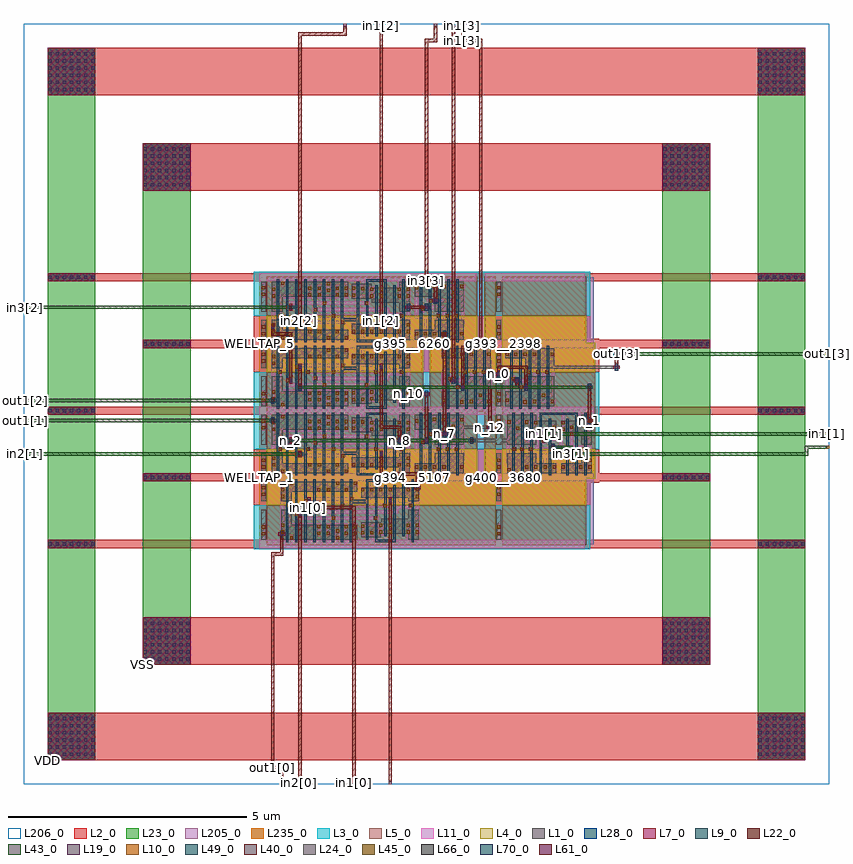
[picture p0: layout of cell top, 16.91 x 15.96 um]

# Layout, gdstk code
from math import pi, radians
import gdstk
lib = gdstk.Library(unit=1e-6, precision=1e-10)
def R(c, l, rs):  # rectangles x0, y0, x1, y1
    for r in rs: c.add(gdstk.rectangle(r[:2], r[2:], *l))
def A(c, l, x, y, w, h, nx, ny, dx, dy):  # array of equal rectangles
    R(c, l, [(x+i*dx, y+j*dy, x+i*dx+w, y+j*dy+h) for i in range(nx) for j in range(ny)])
def P(c, l, *ps):  # polygons
    for p in ps: c.add(gdstk.Polygon(p, *l))
L1_0 = (1, 0)
L2_0 = (2, 0)
L3_0 = (3, 0)
L4_0 = (4, 0)
L5_0 = (5, 0)
L7_0 = (7, 0)
L9_0 = (9, 0)
L10_0 = (10, 0)
L11_0 = (11, 0)
L19_0 = (19, 0)
L22_0 = (22, 0)
L23_0 = (23, 0)
L24_0 = (24, 0)
L28_0 = (28, 0)
L40_0 = (40, 0)
L43_0 = (43, 0)
L45_0 = (45, 0)
L49_0 = (49, 0)
L61_0 = (61, 0)
L66_0 = (66, 0)
L70_0 = (70, 0)
L205_0 = (205, 0)
L206_0 = (206, 0)
L235_0 = (235, 0)

xor2_x1 = lib.new_cell('XOR2_X1')
P(xor2_x1, L1_0, [(0.04,0.09),(0.04,0.3),(0.46,0.3),(0.46,0.505),(1.065,0.505),(1.065,0.09)],
  [(0.46,0.68),(0.46,0.995),(0.04,0.995),(0.04,1.31),(1.065,1.31),(1.065,0.68)])
R(xor2_x1, L2_0, [(-0.115,-0.115,1.255,0.59)])
R(xor2_x1, L3_0, [(-0.115,0.59,1.255,1.515)])
R(xor2_x1, L4_0, [(-0.025,-0.025,1.165,0.59)])
R(xor2_x1, L5_0, [(-0.025,0.59,1.165,1.425)])
P(xor2_x1, L9_0, [(0.145,0.04),(0.145,1.36),(0.195,1.36),(0.195,0.77),(0.245,0.77),(0.245,0.695),(0.195,0.695),(0.195,0.04)],
  [(0.335,0.04),(0.335,1.36),(0.385,1.36),(0.385,0.945),(0.41,0.945),(0.41,0.87),(0.385,0.87),(0.385,0.04)],
  [(0.53,0.04),(0.53,0.555),(0.495,0.555),(0.495,0.63),(0.53,0.63),(0.53,1.36),(0.58,1.36),(0.58,0.04)],
  [(0.72,0.04),(0.72,0.555),(0.685,0.555),(0.685,0.63),(0.72,0.63),(0.72,1.36),(0.77,1.36),(0.77,0.04)],
  [(0.91,0.04),(0.91,0.555),(0.875,0.555),(0.875,0.63),(0.91,0.63),(0.91,1.36),(0.96,1.36),(0.96,0.04)])
A(xor2_x1, L10_0, 0.5, 0.56, 0.065, 0.065, 3, 1, 0.19, 0)
R(xor2_x1, L10_0, [(0.045,0.185,0.11,0.25), (0.23,0.185,0.295,0.25), (0.42,0.185,0.485,0.25), (0.62,0.185,0.685,0.25), (0.995,0.185,1.06,0.25), (0.175,0.7,0.24,0.765), (0.34,0.875,0.405,0.94), (0.81,1.04,0.875,1.105), (0.045,1.15,0.11,1.215), (0.62,1.175,0.685,1.24), (0.995,1.175,1.06,1.24), (0.42,1.185,0.485,1.25)])
R(xor2_x1, L11_0, [(0.585,1.175,1.095,1.245)])
P(xor2_x1, L11_0, [(0.225,0.15),(0.225,0.525),(0.04,0.525),(0.04,1.25),(0.11,1.25),(0.11,0.595),(0.495,0.595),(0.495,0.66),(0.565,0.66),(0.565,0.525),(0.295,0.525),(0.295,0.15)],
  [(0.63,0.525),(0.63,0.73),(0.245,0.73),(0.245,0.665),(0.175,0.665),(0.175,0.8),(0.7,0.8),(0.7,0.66),(0.755,0.66),(0.755,0.525)],
  [(0.82,0.525),(0.82,0.875),(0.305,0.875),(0.305,0.945),(0.89,0.945),(0.89,0.66),(0.945,0.66),(0.945,0.525)],
  [(0.62,0.15),(0.62,0.42),(1.01,0.42),(1.01,1.04),(0.775,1.04),(0.775,1.11),(1.08,1.11),(1.08,0.35),(0.69,0.35),(0.69,0.15)],
  [(0,-0.085),(0,0.085),(0.04,0.085),(0.04,0.285),(0.11,0.285),(0.11,0.085),(0.42,0.085),(0.42,0.285),(0.49,0.285),(0.49,0.085),(0.99,0.085),(0.99,0.285),(1.06,0.285),(1.06,0.085),(1.14,0.085),(1.14,-0.085)],
  [(0.42,1.15),(0.42,1.315),(0,1.315),(0,1.485),(1.14,1.485),(1.14,1.315),(0.49,1.315),(0.49,1.15)])
R(xor2_x1, L235_0, [(0,0,1.14,1.4)])
xor2_x1.add(gdstk.Label('A', (0.665,0.63), layer=11, texttype=0))
xor2_x1.add(gdstk.Label('B', (0.855,0.77), layer=11, texttype=0))
xor2_x1.add(gdstk.Label('VDD', (0.57,1.485), layer=11, texttype=0))
xor2_x1.add(gdstk.Label('VSS', (0.57,-0.085), layer=11, texttype=0))
xor2_x1.add(gdstk.Label('Z', (1.045,0.63), layer=11, texttype=0))
xor2_x1.add(gdstk.Label('& Vendor Nangate Inc', (0,0), layer=63, texttype=63))
xor2_x1.add(gdstk.Label('& Product Open Cell Library', (0,0), layer=63, texttype=63))
xor2_x1.add(gdstk.Label('& Version 2010_12', (0,0), layer=63, texttype=63))
xor2_x1.add(gdstk.Label('& Instance XOR2_X1', (0,0), layer=63, texttype=63))

fa_x1 = lib.new_cell('FA_X1')
P(fa_x1, L1_0, [(0.065,0.09),(0.065,0.505),(0.29,0.505),(0.29,0.425),(1.28,0.425),(1.28,0.215),(0.29,0.215),(0.29,0.09)],
  [(0.065,0.68),(0.065,1.31),(0.29,1.31),(0.29,1.185),(0.865,1.185),(0.865,1.26),(1.28,1.26),(1.28,0.945),(0.86,0.945),(0.86,0.87),(0.29,0.87),(0.29,0.68)],
  [(1.36,0.09),(1.36,0.3),(2.735,0.3),(2.735,0.505),(2.96,0.505),(2.96,0.09)],
  [(2.735,0.68),(2.735,0.995),(1.36,0.995),(1.36,1.31),(2.96,1.31),(2.96,0.68)])
R(fa_x1, L2_0, [(-0.115,-0.115,3.155,0.59)])
R(fa_x1, L3_0, [(-0.115,0.59,3.155,1.515)])
R(fa_x1, L4_0, [(-0.025,-0.025,3.065,0.59)])
R(fa_x1, L5_0, [(-0.025,0.59,3.065,1.425)])
P(fa_x1, L9_0, [(0.17,0.04),(0.17,1.36),(0.22,1.36),(0.22,0.63),(0.275,0.63),(0.275,0.555),(0.22,0.555),(0.22,0.04)],
  [(0.74,0.165),(0.74,1.235),(0.79,1.235),(0.79,0.63),(0.815,0.63),(0.815,0.555),(0.79,0.555),(0.79,0.165)],
  [(0.55,0.165),(0.55,1.36),(0.985,1.36),(0.985,0.895),(1.01,0.895),(1.01,0.82),(0.985,0.82),(0.985,0.165),(0.935,0.165),(0.935,1.31),(0.6,1.31),(0.6,0.165)],
  [(0.36,0.04),(0.36,1.235),(0.41,1.235),(0.41,0.09),(1.125,0.09),(1.125,1.31),(1.175,1.31),(1.175,0.54),(1.465,0.54),(1.465,1.36),(1.515,1.36),(1.515,0.04),(1.465,0.04),(1.465,0.415),(1.44,0.415),(1.44,0.475),(1.175,0.475),(1.175,0.04)],
  [(1.655,0.04),(1.655,0.555),(1.63,0.555),(1.63,0.63),(1.655,0.63),(1.655,1.36),(1.705,1.36),(1.705,0.04)],
  [(1.845,0.04),(1.845,0.82),(1.82,0.82),(1.82,0.895),(1.845,0.895),(1.845,1.36),(1.895,1.36),(1.895,0.04)],
  [(2.035,0.04),(2.035,0.685),(2.01,0.685),(2.01,0.76),(2.035,0.76),(2.035,1.36),(2.085,1.36),(2.085,0.04)],
  [(2.235,0.04),(2.235,0.555),(2.17,0.555),(2.17,0.63),(2.235,0.63),(2.235,1.36),(2.285,1.36),(2.285,0.04)],
  [(2.425,0.04),(2.425,0.45),(2.4,0.45),(2.4,0.525),(2.425,0.525),(2.425,1.36),(2.475,1.36),(2.475,0.04)],
  [(2.615,0.04),(2.615,0.73),(2.59,0.73),(2.59,0.805),(2.615,0.805),(2.615,1.36),(2.665,1.36),(2.665,0.04)],
  [(2.805,0.04),(2.805,0.555),(2.75,0.555),(2.75,0.63),(2.805,0.63),(2.805,1.36),(2.855,1.36),(2.855,0.04)])
R(fa_x1, L10_0, [(1.365,0.095,1.43,0.16), (1.74,0.095,1.805,0.16), (2.7,0.095,2.765,0.16), (0.07,0.23,0.135,0.295), (0.255,0.23,0.32,0.295), (0.635,0.23,0.7,0.295), (0.835,0.23,0.9,0.295), (1.025,0.23,1.09,0.295), (1.21,0.23,1.275,0.295), (1.555,0.23,1.62,0.295), (1.93,0.23,1.995,0.295), (2.135,0.23,2.2,0.295), (2.89,0.23,2.955,0.295), (0.07,0.37,0.135,0.435), (2.89,0.37,2.955,0.435), (1.445,0.42,1.51,0.485), (2.405,0.455,2.47,0.52), (0.205,0.56,0.27,0.625), (0.745,0.56,0.81,0.625), (1.635,0.56,1.7,0.625), (2.175,0.56,2.24,0.625), (2.755,0.56,2.82,0.625), (2.015,0.69,2.08,0.755), (2.595,0.735,2.66,0.8), (0.94,0.825,1.005,0.89), (1.825,0.825,1.89,0.89), (0.07,0.975,0.135,1.04), (0.255,0.975,0.32,1.04), (0.635,0.975,0.7,1.04), (0.835,0.975,0.9,1.04), (2.89,0.975,2.955,1.04), (1.21,0.995,1.275,1.06), (1.365,1,1.43,1.065), (1.555,1,1.62,1.065), (1.935,1,2,1.065), (2.135,1,2.2,1.065), (1.74,1.095,1.805,1.16), (0.07,1.115,0.135,1.18), (0.255,1.115,0.32,1.18), (0.635,1.115,0.7,1.18), (0.835,1.115,0.9,1.18), (2.89,1.115,2.955,1.18), (1.02,1.13,1.085,1.195), (1.21,1.135,1.275,1.2), (1.365,1.14,1.43,1.205), (1.555,1.14,1.62,1.205), (1.935,1.14,2,1.205), (2.135,1.14,2.2,1.205), (1.74,1.235,1.805,1.3), (2.7,1.24,2.765,1.305)])
R(fa_x1, L11_0, [(0.06,0.195,0.135,1.215), (2.89,0.195,2.98,1.215), (1.52,0.225,2.03,0.295)])
P(fa_x1, L11_0, [(0.835,0.195),(0.835,0.465),(1.275,0.465),(1.275,0.195),(1.205,0.195),(1.205,0.395),(0.905,0.395),(0.905,0.195)],
  [(0.8,0.96),(0.8,1.215),(0.935,1.215),(0.935,1.03),(1.205,1.03),(1.205,1.235),(1.275,1.235),(1.275,0.96)],
  [(1.555,0.96),(1.555,1.24),(1.625,1.24),(1.625,1.03),(1.93,1.03),(1.93,1.24),(2,1.24),(2,0.96)],
  [(0.495,0.23),(0.495,0.525),(0.205,0.525),(0.205,0.66),(0.495,0.66),(0.495,0.76),(0.63,0.76),(0.63,1.215),(0.7,1.215),(0.7,0.76),(2.115,0.76),(2.115,0.69),(0.565,0.69),(0.565,0.3),(0.735,0.3),(0.735,0.23)],
  [(0.63,0.42),(0.63,0.625),(2.275,0.625),(2.275,0.555),(0.7,0.555),(0.7,0.42)],
  [(1.41,0.42),(1.41,0.49),(2.34,0.49),(2.34,0.56),(2.47,0.56),(2.47,0.42)],
  [(2.53,0.7),(2.53,0.825),(0.905,0.825),(0.905,0.895),(2.66,0.895),(2.66,0.7)],
  [(2.1,0.225),(2.1,0.295),(2.75,0.295),(2.75,0.96),(2.13,0.96),(2.13,1.24),(2.2,1.24),(2.2,1.03),(2.82,1.03),(2.82,0.225)],
  [(0,-0.085),(0,0.085),(0.25,0.085),(0.25,0.33),(0.32,0.33),(0.32,0.085),(1.025,0.085),(1.025,0.33),(1.095,0.33),(1.095,0.085),(1.36,0.085),(1.36,0.195),(1.43,0.195),(1.43,0.085),(1.705,0.085),(1.705,0.16),(1.84,0.16),(1.84,0.085),(2.665,0.085),(2.665,0.16),(2.8,0.16),(2.8,0.085),(3.04,0.085),(3.04,-0.085)],
  [(0.25,0.94),(0.25,1.315),(0,1.315),(0,1.485),(3.04,1.485),(3.04,1.315),(2.765,1.315),(2.765,1.205),(2.695,1.205),(2.695,1.315),(1.84,1.315),(1.84,1.095),(1.705,1.095),(1.705,1.315),(1.43,1.315),(1.43,0.965),(1.36,0.965),(1.36,1.315),(1.085,1.315),(1.085,1.095),(1.015,1.095),(1.015,1.315),(0.32,1.315),(0.32,0.94)])
R(fa_x1, L235_0, [(0,0,3.04,1.4)])
fa_x1.add(gdstk.Label('A', (2.565,0.77), layer=11, texttype=0))
fa_x1.add(gdstk.Label('B', (2.375,0.49), layer=11, texttype=0))
fa_x1.add(gdstk.Label('CI', (0.665,0.49), layer=11, texttype=0))
fa_x1.add(gdstk.Label('CO', (0.095,0.77), layer=11, texttype=0))
fa_x1.add(gdstk.Label('S', (2.945,0.77), layer=11, texttype=0))
fa_x1.add(gdstk.Label('VDD', (1.52,1.485), layer=11, texttype=0))
fa_x1.add(gdstk.Label('VSS', (1.52,-0.085), layer=11, texttype=0))
fa_x1.add(gdstk.Label('& Vendor Nangate Inc', (0,0), layer=63, texttype=63))
fa_x1.add(gdstk.Label('& Product Open Cell Library', (0,0), layer=63, texttype=63))
fa_x1.add(gdstk.Label('& Version 2010_12', (0,0), layer=63, texttype=63))
fa_x1.add(gdstk.Label('& Instance FA_X1', (0,0), layer=63, texttype=63))

ha_x1 = lib.new_cell('HA_X1')
P(ha_x1, L1_0, [(0.08,0.09),(0.08,0.505),(0.685,0.505),(0.685,0.3),(1.105,0.3),(1.105,0.09)],
  [(0.08,0.68),(0.08,1.31),(0.685,1.31),(0.685,1.185),(1.105,1.185),(1.105,0.87),(0.685,0.87),(0.685,0.68)],
  [(1.215,0.09),(1.215,0.3),(1.63,0.3),(1.63,0.505),(1.855,0.505),(1.855,0.09)],
  [(1.63,0.68),(1.63,0.87),(1.215,0.87),(1.215,1.185),(1.63,1.185),(1.63,1.31),(1.855,1.31),(1.855,0.68)])
R(ha_x1, L2_0, [(-0.115,-0.115,2.015,0.59)])
R(ha_x1, L3_0, [(-0.115,0.59,2.015,1.515)])
R(ha_x1, L4_0, [(-0.025,-0.025,1.925,0.59)])
R(ha_x1, L5_0, [(-0.025,0.59,1.925,1.425)])
P(ha_x1, L9_0, [(0.185,0.04),(0.185,1.36),(0.235,1.36),(0.235,0.63),(0.265,0.63),(0.265,0.555),(0.235,0.555),(0.235,0.04)],
  [(0.375,0.04),(0.375,0.555),(0.35,0.555),(0.35,0.63),(0.375,0.63),(0.375,1.36),(0.425,1.36),(0.425,0.04)],
  [(0.565,0.04),(0.565,0.555),(0.535,0.555),(0.535,0.63),(0.565,0.63),(0.565,1.36),(0.615,1.36),(0.615,0.04)],
  [(0.95,0.04),(0.95,1.235),(1,1.235),(1,0.63),(1.32,0.63),(1.32,1.235),(1.37,1.235),(1.37,0.04),(1.32,0.04),(1.32,0.555),(1,0.555),(1,0.04)],
  [(0.76,0.04),(0.76,1.36),(1.56,1.36),(1.56,0.04),(1.51,0.04),(1.51,1.31),(0.81,1.31),(0.81,0.805),(0.875,0.805),(0.875,0.73),(0.81,0.73),(0.81,0.04)],
  [(1.7,0.04),(1.7,0.555),(1.635,0.555),(1.635,0.63),(1.7,0.63),(1.7,1.36),(1.75,1.36),(1.75,0.04)])
R(ha_x1, L10_0, [(0.085,0.125,0.15,0.19), (0.46,0.185,0.525,0.25), (0.65,0.185,0.715,0.25), (0.845,0.185,0.91,0.25), (1.035,0.185,1.1,0.25), (1.22,0.185,1.285,0.25), (1.595,0.185,1.66,0.25), (1.785,0.185,1.85,0.25), (1.785,0.325,1.85,0.39), (0.195,0.56,0.26,0.625), (0.355,0.56,0.42,0.625), (0.54,0.56,0.605,0.625), (0.98,0.56,1.045,0.625), (1.64,0.56,1.705,0.625), (0.805,0.735,0.87,0.8), (1.035,0.875,1.1,0.94), (1.405,0.875,1.47,0.94), (1.22,0.975,1.285,1.04), (0.27,0.995,0.335,1.06), (1.785,1.01,1.85,1.075), (1.035,1.015,1.1,1.08), (1.405,1.015,1.47,1.08), (0.65,1.115,0.715,1.18), (1.22,1.115,1.285,1.18), (1.595,1.115,1.66,1.18), (0.085,1.13,0.15,1.195), (0.46,1.13,0.525,1.195), (1.785,1.15,1.85,1.215)])
R(ha_x1, L11_0, [(1.77,0.15,1.85,1.25), (0.05,1.13,0.56,1.2)])
P(ha_x1, L11_0, [(0.455,0.15),(0.455,0.29),(0.06,0.29),(0.06,1.065),(0.37,1.065),(0.37,0.995),(0.13,0.995),(0.13,0.36),(0.525,0.36),(0.525,0.15)],
  [(0.195,0.525),(0.195,0.93),(0.89,0.93),(0.89,0.7),(0.805,0.7),(0.805,0.86),(0.265,0.86),(0.265,0.525)],
  [(0.355,0.525),(0.355,0.795),(0.74,0.795),(0.74,0.63),(1.01,0.63),(1.01,0.7),(1.08,0.7),(1.08,0.56),(0.67,0.56),(0.67,0.725),(0.425,0.725),(0.425,0.525)],
  [(0.84,0.15),(0.84,0.425),(0.535,0.425),(0.535,0.66),(0.605,0.66),(0.605,0.495),(1.18,0.495),(1.18,0.765),(1.035,0.765),(1.035,1.115),(1.105,1.115),(1.105,0.835),(1.25,0.835),(1.25,0.425),(0.91,0.425),(0.91,0.15)],
  [(1.22,0.15),(1.22,0.285),(1.4,0.285),(1.4,1.115),(1.47,1.115),(1.47,0.66),(1.705,0.66),(1.705,0.525),(1.47,0.525),(1.47,0.15)],
  [(0,-0.085),(0,0.085),(0.08,0.085),(0.08,0.225),(0.15,0.225),(0.15,0.085),(0.645,0.085),(0.645,0.285),(0.715,0.285),(0.715,0.085),(1.03,0.085),(1.03,0.285),(1.1,0.285),(1.1,0.085),(1.59,0.085),(1.59,0.285),(1.66,0.285),(1.66,0.085),(1.9,0.085),(1.9,-0.085)],
  [(1.22,0.94),(1.22,1.315),(0.715,1.315),(0.715,1.08),(0.645,1.08),(0.645,1.315),(0,1.315),(0,1.485),(1.9,1.485),(1.9,1.315),(1.66,1.315),(1.66,1.08),(1.59,1.08),(1.59,1.315),(1.29,1.315),(1.29,0.94)])
R(ha_x1, L235_0, [(0,0,1.9,1.4)])
ha_x1.add(gdstk.Label('A', (1.045,0.63), layer=11, texttype=0))
ha_x1.add(gdstk.Label('B', (0.855,0.77), layer=11, texttype=0))
ha_x1.add(gdstk.Label('CO', (1.805,0.63), layer=11, texttype=0))
ha_x1.add(gdstk.Label('S', (0.095,0.63), layer=11, texttype=0))
ha_x1.add(gdstk.Label('VDD', (0.95,1.485), layer=11, texttype=0))
ha_x1.add(gdstk.Label('VSS', (0.95,-0.085), layer=11, texttype=0))
ha_x1.add(gdstk.Label('& Vendor Nangate Inc', (0,0), layer=63, texttype=63))
ha_x1.add(gdstk.Label('& Product Open Cell Library', (0,0), layer=63, texttype=63))
ha_x1.add(gdstk.Label('& Version 2010_12', (0,0), layer=63, texttype=63))
ha_x1.add(gdstk.Label('& Instance HA_X1', (0,0), layer=63, texttype=63))

tapcell_x1 = lib.new_cell('TAPCELL_X1')
R(tapcell_x1, L1_0, [(0.04,0.09,0.145,0.505), (0.04,0.68,0.145,1.31)])
R(tapcell_x1, L2_0, [(-0.115,-0.115,0.305,0.59)])
R(tapcell_x1, L3_0, [(-0.115,0.59,0.305,1.515)])
R(tapcell_x1, L10_0, [(0.06,0.185,0.125,0.25), (0.06,0.325,0.125,0.39), (0.06,1.01,0.125,1.075), (0.06,1.15,0.125,1.215)])
P(tapcell_x1, L11_0, [(0,-0.085),(0,0.085),(0.06,0.085),(0.06,0.425),(0.13,0.425),(0.13,0.085),(0.19,0.085),(0.19,-0.085)],
  [(0.06,0.975),(0.06,1.315),(0,1.315),(0,1.485),(0.19,1.485),(0.19,1.315),(0.13,1.315),(0.13,0.975)])
R(tapcell_x1, L235_0, [(0,0,0.19,1.4)])
tapcell_x1.add(gdstk.Label('VDD', (0.19,1.485), layer=11, texttype=0))
tapcell_x1.add(gdstk.Label('VSS', (0.19,-0.085), layer=11, texttype=0))
tapcell_x1.add(gdstk.Label('& Vendor Nangate Inc', (0,0), layer=63, texttype=63))
tapcell_x1.add(gdstk.Label('& Product Open Cell Library', (0,0), layer=63, texttype=63))
tapcell_x1.add(gdstk.Label('& Version 2010_12', (0,0), layer=63, texttype=63))
tapcell_x1.add(gdstk.Label('& Instance TAPCELL_X1', (0,0), layer=63, texttype=63))

fillcell_x1 = lib.new_cell('FILLCELL_X1')
R(fillcell_x1, L2_0, [(-0.115,-0.115,0.305,0.59)])
R(fillcell_x1, L3_0, [(-0.115,0.59,0.305,1.515)])
R(fillcell_x1, L4_0, [(-0.025,-0.025,0.215,0.59)])
R(fillcell_x1, L5_0, [(-0.025,0.59,0.215,1.425)])
R(fillcell_x1, L11_0, [(0,-0.085,0.19,0.085), (0,1.315,0.19,1.485)])
R(fillcell_x1, L235_0, [(0,0,0.19,1.4)])
fillcell_x1.add(gdstk.Label('VDD', (0.095,1.485), layer=11, texttype=0))
fillcell_x1.add(gdstk.Label('VSS', (0.095,-0.085), layer=11, texttype=0))
fillcell_x1.add(gdstk.Label('& Vendor Nangate Inc', (0,0), layer=63, texttype=63))
fillcell_x1.add(gdstk.Label('& Product Open Cell Library', (0,0), layer=63, texttype=63))
fillcell_x1.add(gdstk.Label('& Version 2010_12', (0,0), layer=63, texttype=63))
fillcell_x1.add(gdstk.Label('& Instance FILLCELL_X1', (0,0), layer=63, texttype=63))

fillcell_x8 = lib.new_cell('FILLCELL_X8')
R(fillcell_x8, L2_0, [(-0.115,-0.115,1.635,0.59)])
R(fillcell_x8, L3_0, [(-0.115,0.59,1.635,1.515)])
R(fillcell_x8, L4_0, [(-0.025,-0.025,1.545,0.59)])
R(fillcell_x8, L5_0, [(-0.025,0.59,1.545,1.425)])
R(fillcell_x8, L11_0, [(0,-0.085,1.52,0.085), (0,1.315,1.52,1.485)])
R(fillcell_x8, L235_0, [(0,0,1.52,1.4)])
fillcell_x8.add(gdstk.Label('VDD', (0.76,1.485), layer=11, texttype=0))
fillcell_x8.add(gdstk.Label('VSS', (0.76,-0.085), layer=11, texttype=0))
fillcell_x8.add(gdstk.Label('& Vendor Nangate Inc', (0,0), layer=63, texttype=63))
fillcell_x8.add(gdstk.Label('& Product Open Cell Library', (0,0), layer=63, texttype=63))
fillcell_x8.add(gdstk.Label('& Version 2010_12', (0,0), layer=63, texttype=63))
fillcell_x8.add(gdstk.Label('& Instance FILLCELL_X8', (0,0), layer=63, texttype=63))

fillcell_x2 = lib.new_cell('FILLCELL_X2')
R(fillcell_x2, L2_0, [(-0.115,-0.115,0.305,0.59)])
R(fillcell_x2, L3_0, [(-0.115,0.59,0.305,1.515)])
R(fillcell_x2, L4_0, [(-0.025,-0.025,0.215,0.59)])
R(fillcell_x2, L5_0, [(-0.025,0.59,0.215,1.425)])
R(fillcell_x2, L11_0, [(0,-0.085,0.19,0.085), (0,1.315,0.19,1.485)])
R(fillcell_x2, L235_0, [(0,0,0.19,1.4)])
fillcell_x2.add(gdstk.Label('VDD', (0.095,1.485), layer=11, texttype=0))
fillcell_x2.add(gdstk.Label('VSS', (0.095,-0.085), layer=11, texttype=0))
fillcell_x2.add(gdstk.Label('& Vendor Nangate Inc', (0,0), layer=63, texttype=63))
fillcell_x2.add(gdstk.Label('& Product Open Cell Library', (0,0), layer=63, texttype=63))
fillcell_x2.add(gdstk.Label('& Version 2010_12', (0,0), layer=63, texttype=63))
fillcell_x2.add(gdstk.Label('& Instance FILLCELL_X2', (0,0), layer=63, texttype=63))

fillcell_x4 = lib.new_cell('FILLCELL_X4')
R(fillcell_x4, L2_0, [(-0.115,-0.115,0.875,0.59)])
R(fillcell_x4, L3_0, [(-0.115,0.59,0.875,1.515)])
R(fillcell_x4, L4_0, [(-0.025,-0.025,0.785,0.59)])
R(fillcell_x4, L5_0, [(-0.025,0.59,0.785,1.425)])
R(fillcell_x4, L11_0, [(0,-0.085,0.76,0.085), (0,1.315,0.76,1.485)])
R(fillcell_x4, L235_0, [(0,0,0.76,1.4)])
fillcell_x4.add(gdstk.Label('VDD', (0.38,1.485), layer=11, texttype=0))
fillcell_x4.add(gdstk.Label('VSS', (0.38,-0.085), layer=11, texttype=0))
fillcell_x4.add(gdstk.Label('& Vendor Nangate Inc', (0,0), layer=63, texttype=63))
fillcell_x4.add(gdstk.Label('& Product Open Cell Library', (0,0), layer=63, texttype=63))
fillcell_x4.add(gdstk.Label('& Version 2010_12', (0,0), layer=63, texttype=63))
fillcell_x4.add(gdstk.Label('& Instance FILLCELL_X4', (0,0), layer=63, texttype=63))

via1_7 = lib.new_cell('via1_7')
R(via1_7, L7_0, [(-0.07,-0.035,0.07,0.035)])
R(via1_7, L19_0, [(-0.035,-0.035,0.035,0.035)])
R(via1_7, L28_0, [(-0.035,-0.07,0.035,0.07)])

via1_4 = lib.new_cell('via1_4')
R(via1_4, L7_0, [(-0.035,-0.07,0.035,0.07)])
R(via1_4, L19_0, [(-0.035,-0.035,0.035,0.035)])
R(via1_4, L28_0, [(-0.035,-0.07,0.035,0.07)])

via2_5 = lib.new_cell('via2_5')
R(via2_5, L28_0, [(-0.035,-0.07,0.035,0.07)])
R(via2_5, L40_0, [(-0.035,-0.035,0.035,0.035)])
R(via2_5, L49_0, [(-0.07,-0.035,0.07,0.035)])

via3_2 = lib.new_cell('via3_2')
R(via3_2, L49_0, [(-0.07,-0.035,0.07,0.035)])
R(via3_2, L61_0, [(-0.035,-0.035,0.035,0.035)])
R(via3_2, L70_0, [(-0.07,-0.07,0.07,0.07)])

top_via0 = lib.new_cell('top_VIA0')
R(top_via0, L7_0, [(-0.5,-0.5,0.5,0.5)])
A(top_via0, L19_0, -0.485, -0.41, 0.07, 0.07, 7, 6, 0.15, 0.15)
R(top_via0, L28_0, [(-0.5,-0.5,0.5,0.5)])

top_via1 = lib.new_cell('top_VIA1')
R(top_via1, L7_0, [(-0.5,-0.085,0.5,0.085)])
A(top_via1, L19_0, -0.485, -0.035, 0.07, 0.07, 7, 1, 0.15, 0)
R(top_via1, L28_0, [(-0.5,-0.085,0.5,0.085)])

top = lib.new_cell('top')
A(top, L2_0, 0.5, 4.955, 4.44, 0.17, 1, 3, 0, 2.8)
A(top, L2_0, 4.94, 4.955, 7.03, 0.17, 1, 5, 0, 1.4)
A(top, L2_0, 11.97, 4.955, 4.44, 0.17, 1, 3, 0, 2.8)
R(top, L2_0, [(0.5,0.5,16.41,1.5), (2.5,2.5,14.41,3.5), (2.5,6.355,4.94,6.525), (11.97,6.355,14.41,6.525), (2.5,9.155,4.94,9.325), (11.97,9.155,14.41,9.325), (2.5,12.46,14.41,13.46), (0.5,14.46,16.41,15.46)])
R(top, L23_0, [(0.5,0.5,1.5,15.46), (15.41,0.5,16.41,15.46), (2.5,2.5,3.5,13.46), (13.41,2.5,14.41,13.46)])
R(top, L24_0, [(5.38,0,5.45,0.07), (5.76,0,5.83,0.07), (6.9,0,6.97,0.07), (7.66,0,7.73,0.07), (6.71,15.89,6.78,15.96), (7.47,15.89,7.54,15.96), (8.61,15.89,8.68,15.96), (9.18,15.89,9.25,15.96)])
R(top, L45_0, [(0,6.895,0.07,6.965), (16.84,7.035,16.91,7.105), (16.84,7.315,16.91,7.385), (0,7.595,0.07,7.665), (0,8.015,0.07,8.085), (16.84,8.995,16.91,9.065), (0,9.975,0.07,10.045)])
R(top, L66_0, [(8.885,15.82,9.025,15.96)])
A(top, L205_0, 4.94, 5.04, 0.19, 1.4, 1, 4, 0, 1.4)
A(top, L205_0, 9.88, 5.04, 0.19, 1.4, 1, 4, 0, 1.4)
A(top, L205_0, 5.13, 6.44, 3.04, 1.4, 1, 3, 0, 1.4)
R(top, L205_0, [(5.13,5.04,5.32,6.44), (5.32,5.04,8.36,6.44), (8.36,5.04,9.88,6.44), (10.07,5.04,11.59,6.44), (11.59,5.04,11.97,6.44), (8.17,6.44,9.31,7.84), (9.31,6.44,9.69,7.84), (9.69,6.44,9.88,7.84), (10.07,6.44,11.97,7.84), (8.17,7.84,8.55,9.24), (8.55,7.84,8.74,9.24), (8.74,7.84,9.88,9.24), (10.07,7.84,11.21,9.24), (11.21,7.84,11.97,9.24), (8.17,9.24,9.31,10.64), (9.31,9.24,9.69,10.64), (9.69,9.24,9.88,10.64), (10.07,9.24,11.59,10.64), (11.59,9.24,11.97,10.64)])
R(top, L206_0, [(0,0,16.91,15.96)])
top.add(gdstk.FlexPath([(9.215,15.61),(9.595,15.61)], 0.07, ends="extended", simple_path=True, layer=22, datatype=0))  # L22_0
top.add(gdstk.FlexPath([(9.215,8.33),(9.215,9.17)], 0.07, ends="extended", simple_path=True, layer=22, datatype=0))  # L22_0
top.add(gdstk.FlexPath([(9.215,9.17),(9.595,9.17)], 0.07, ends="extended", simple_path=True, layer=22, datatype=0))  # L22_0
top.add(gdstk.FlexPath([(9.215,15.61),(9.215,15.925)], 0.07, ends=(0.035, 0), simple_path=True, layer=22, datatype=0))  # L22_0
top.add(gdstk.FlexPath([(9.595,9.17),(9.595,15.61)], 0.07, ends="extended", simple_path=True, layer=22, datatype=0))  # L22_0
top.add(gdstk.FlexPath([(7.505,9.73),(7.505,15.925)], 0.07, ends=(0.035, 0), simple_path=True, layer=22, datatype=0))  # L22_0
top.add(gdstk.FlexPath([(10.925,7.35),(16.875,7.35)], 0.07, ends=(0.035, 0), simple_path=True, layer=43, datatype=0))  # L43_0
top.add(gdstk.FlexPath([(5.985,5.81),(5.985,5.95)], 0.07, ends="extended", simple_path=True, layer=22, datatype=0))  # L22_0
top.add(gdstk.FlexPath([(5.985,5.81),(6.935,5.81)], 0.07, ends="extended", simple_path=True, layer=22, datatype=0))  # L22_0
top.add(gdstk.FlexPath([(6.935,0.035),(6.935,5.81)], 0.07, ends=(0, 0.035), simple_path=True, layer=22, datatype=0))  # L22_0
top.add(gdstk.FlexPath([(8.955,15.89),(9.025,15.89)], 0.07, ends="extended", simple_path=True, layer=43, datatype=0))  # L43_0
top.add(gdstk.FlexPath([(9.025,8.47),(9.025,15.89)], 0.07, ends="extended", simple_path=True, layer=22, datatype=0))  # L22_0
top.add(gdstk.FlexPath([(5.795,9.73),(5.795,15.75)], 0.07, ends="extended", simple_path=True, layer=22, datatype=0))  # L22_0
top.add(gdstk.FlexPath([(5.795,15.75),(6.745,15.75)], 0.07, ends="extended", simple_path=True, layer=22, datatype=0))  # L22_0
top.add(gdstk.FlexPath([(6.745,15.75),(6.745,15.925)], 0.07, ends=(0.035, 0), simple_path=True, layer=22, datatype=0))  # L22_0
top.add(gdstk.FlexPath([(0.035,6.93),(5.795,6.93)], 0.07, ends=(0, 0.035), simple_path=True, layer=43, datatype=0))  # L43_0
top.add(gdstk.FlexPath([(5.795,0.035),(5.795,5.67)], 0.07, ends=(0, 0.035), simple_path=True, layer=22, datatype=0))  # L22_0
top.add(gdstk.FlexPath([(8.455,10.57),(8.645,10.57)], 0.07, ends="extended", simple_path=True, layer=22, datatype=0))  # L22_0
top.add(gdstk.FlexPath([(8.455,10.57),(8.455,15.61)], 0.07, ends="extended", simple_path=True, layer=22, datatype=0))  # L22_0
top.add(gdstk.FlexPath([(8.455,15.61),(8.645,15.61)], 0.07, ends="extended", simple_path=True, layer=22, datatype=0))  # L22_0
top.add(gdstk.FlexPath([(8.645,10.15),(8.645,10.57)], 0.07, ends="extended", simple_path=True, layer=22, datatype=0))  # L22_0
top.add(gdstk.FlexPath([(8.645,15.61),(8.645,15.925)], 0.07, ends=(0.035, 0), simple_path=True, layer=22, datatype=0))  # L22_0
top.add(gdstk.FlexPath([(0.035,10.01),(5.605,10.01)], 0.07, ends=(0, 0.035), simple_path=True, layer=43, datatype=0))  # L43_0
top.add(gdstk.FlexPath([(11.495,6.93),(11.495,7.07)], 0.07, ends="extended", simple_path=True, layer=43, datatype=0))  # L43_0
top.add(gdstk.FlexPath([(11.115,7.07),(11.495,7.07)], 0.07, ends="extended", simple_path=True, layer=43, datatype=0))  # L43_0
top.add(gdstk.FlexPath([(11.495,6.93),(16.435,6.93)], 0.07, ends="extended", simple_path=True, layer=43, datatype=0))  # L43_0
top.add(gdstk.FlexPath([(16.435,6.93),(16.435,7.07)], 0.07, ends="extended", simple_path=True, layer=43, datatype=0))  # L43_0
top.add(gdstk.FlexPath([(16.435,7.07),(16.875,7.07)], 0.07, ends=(0.035, 0), simple_path=True, layer=43, datatype=0))  # L43_0
top.add(gdstk.FlexPath([(7.695,0.035),(7.695,5.95)], 0.07, ends=(0, 0.035), simple_path=True, layer=22, datatype=0))  # L22_0
top.add(gdstk.FlexPath([(12.445,9.03),(16.875,9.03)], 0.07, ends=(0.035, 0), simple_path=True, layer=43, datatype=0))  # L43_0
top.add(gdstk.FlexPath([(12.445,8.75),(12.445,9.03)], 0.07, ends="extended", simple_path=True, layer=22, datatype=0))  # L22_0
top.add(gdstk.FlexPath([(11.115,8.75),(12.445,8.75)], 0.07, ends=(0, 0.035), simple_path=True, layer=1, datatype=0))  # L1_0
top.add(gdstk.FlexPath([(0.035,8.05),(5.225,8.05)], 0.07, ends=(0, 0.035), simple_path=True, layer=43, datatype=0))  # L43_0
top.add(gdstk.FlexPath([(0.035,7.63),(5.225,7.63)], 0.07, ends=(0, 0.035), simple_path=True, layer=43, datatype=0))  # L43_0
top.add(gdstk.FlexPath([(5.225,0.35),(5.415,0.35)], 0.07, ends="extended", simple_path=True, layer=22, datatype=0))  # L22_0
top.add(gdstk.FlexPath([(5.225,0.35),(5.225,4.83)], 0.07, ends="extended", simple_path=True, layer=22, datatype=0))  # L22_0
top.add(gdstk.FlexPath([(5.225,4.83),(5.415,4.83)], 0.07, ends="extended", simple_path=True, layer=22, datatype=0))  # L22_0
top.add(gdstk.FlexPath([(5.415,0.035),(5.415,0.35)], 0.07, ends=(0, 0.035), simple_path=True, layer=22, datatype=0))  # L22_0
top.add(gdstk.FlexPath([(5.415,4.83),(5.415,5.25)], 0.07, ends="extended", simple_path=True, layer=22, datatype=0))  # L22_0
top.add(gdstk.FlexPath([(9.975,8.61),(9.975,8.75)], 0.07, ends="extended", simple_path=True, layer=22, datatype=0))  # L22_0
top.add(gdstk.FlexPath([(9.785,8.61),(9.975,8.61)], 0.07, ends=(0, 0.035), simple_path=True, layer=1, datatype=0))  # L1_0
top.add(gdstk.FlexPath([(9.975,8.75),(10.545,8.75)], 0.07, ends="extended", simple_path=True, layer=22, datatype=0))  # L22_0
top.add(gdstk.FlexPath([(10.545,8.33),(10.545,8.75)], 0.07, ends="extended", simple_path=True, layer=22, datatype=0))  # L22_0
top.add(gdstk.FlexPath([(11.875,7.63),(11.875,8.33)], 0.07, ends="extended", simple_path=True, layer=22, datatype=0))  # L22_0
top.add(gdstk.FlexPath([(5.795,8.33),(5.795,8.75)], 0.07, ends="extended", simple_path=True, layer=22, datatype=0))  # L22_0
top.add(gdstk.FlexPath([(5.795,8.33),(11.875,8.33)], 0.07, ends="extended", simple_path=True, layer=43, datatype=0))  # L43_0
top.add(gdstk.FlexPath([(5.605,7.21),(9.405,7.21)], 0.07, ends="extended", simple_path=True, layer=43, datatype=0))  # L43_0
top.add(gdstk.FlexPath([(9.405,7.21),(10.165,7.21)], 0.07, ends=(0.035, 0), simple_path=True, layer=1, datatype=0))  # L1_0
top.add(gdstk.FlexPath([(8.265,6.23),(8.265,6.51)], 0.07, ends="extended", simple_path=True, layer=22, datatype=0))  # L22_0
top.add(gdstk.FlexPath([(7.505,6.51),(7.505,6.93)], 0.07, ends="extended", simple_path=True, layer=22, datatype=0))  # L22_0
top.add(gdstk.FlexPath([(7.505,6.51),(8.265,6.51)], 0.07, ends="extended", simple_path=True, layer=22, datatype=0))  # L22_0
top.add(gdstk.FlexPath([(8.075,10.01),(8.455,10.01)], 0.07, ends="extended", simple_path=True, layer=22, datatype=0))  # L22_0
top.add(gdstk.FlexPath([(5.225,9.45),(5.605,9.45)], 0.07, ends="extended", simple_path=True, layer=22, datatype=0))  # L22_0
top.add(gdstk.FlexPath([(5.225,9.45),(5.225,9.59)], 0.07, ends="extended", simple_path=True, layer=22, datatype=0))  # L22_0
top.add(gdstk.FlexPath([(5.605,8.47),(5.605,9.45)], 0.07, ends="extended", simple_path=True, layer=22, datatype=0))  # L22_0
top.add(gdstk.FlexPath([(8.835,7.35),(8.835,9.45)], 0.07, ends="extended", simple_path=True, layer=22, datatype=0))  # L22_0
top.add(gdstk.FlexPath([(7.885,7.21),(7.885,7.49)], 0.07, ends="extended", simple_path=True, layer=22, datatype=0))  # L22_0
top.add(gdstk.FlexPath([(7.505,7.49),(7.505,8.75)], 0.07, ends="extended", simple_path=True, layer=22, datatype=0))  # L22_0
top.add(gdstk.FlexPath([(7.505,7.49),(7.885,7.49)], 0.07, ends="extended", simple_path=True, layer=22, datatype=0))  # L22_0
top.add(gdstk.FlexPath([(7.885,7.21),(8.075,7.21)], 0.07, ends=(0.035, 0), simple_path=True, layer=1, datatype=0))  # L1_0
top.add(gdstk.FlexPath([(8.075,8.19),(8.455,8.19)], 0.07, ends=(0, 0.035), simple_path=True, layer=1, datatype=0))  # L1_0
top.add(gdstk.FlexPath([(8.455,7.21),(8.455,8.19)], 0.07, ends="extended", simple_path=True, layer=22, datatype=0))  # L22_0
top.add(gdstk.FlexPath([(9.785,7.49),(9.785,8.33)], 0.07, ends="extended", simple_path=True, layer=22, datatype=0))  # L22_0
top.add(gdstk.FlexPath([(9.215,7.49),(9.785,7.49)], 0.07, ends=(0, 0.035), simple_path=True, layer=1, datatype=0))  # L1_0
top.add(gdstk.FlexPath([(9.785,8.33),(10.355,8.33)], 0.07, ends="extended", simple_path=True, layer=22, datatype=0))  # L22_0
top.add(gdstk.FlexPath([(10.355,8.33),(10.355,8.47)], 0.07, ends="extended", simple_path=True, layer=22, datatype=0))  # L22_0
top.add(gdstk.Reference(xor2_x1, (10.07,9.24), x_reflection=True))
top.add(gdstk.Reference(xor2_x1, (8.17,6.44)))
top.add(gdstk.Reference(fa_x1, (8.17,9.24), rotation=pi))
top.add(gdstk.Reference(fa_x1, (8.17,6.44), rotation=pi, x_reflection=True))
top.add(gdstk.Reference(xor2_x1, (8.17,9.24)))
top.add(gdstk.Reference(fa_x1, (8.17,9.24), rotation=pi, x_reflection=True))
top.add(gdstk.Reference(fa_x1, (8.36,6.44), rotation=pi))
top.add(gdstk.Reference(ha_x1, (10.07,6.44)))
top.add(gdstk.Reference(xor2_x1, (8.74,9.24), x_reflection=True))
top.add(gdstk.Reference(tapcell_x1, (4.94,6.44), x_reflection=True))
top.add(gdstk.Reference(tapcell_x1, (9.88,6.44), x_reflection=True))
top.add(gdstk.Reference(tapcell_x1, (4.94,6.44)))
top.add(gdstk.Reference(tapcell_x1, (9.88,6.44)))
top.add(gdstk.Reference(tapcell_x1, (4.94,9.24), x_reflection=True))
top.add(gdstk.Reference(tapcell_x1, (9.88,9.24), x_reflection=True))
top.add(gdstk.Reference(tapcell_x1, (4.94,9.24)))
top.add(gdstk.Reference(tapcell_x1, (9.88,9.24)))
top.add(gdstk.Reference(fillcell_x1, (5.13,6.44), x_reflection=True))
top.add(gdstk.Reference(fillcell_x8, (8.36,6.44), x_reflection=True))
top.add(gdstk.Reference(fillcell_x8, (10.07,6.44), x_reflection=True))
top.add(gdstk.Reference(fillcell_x2, (11.59,6.44), x_reflection=True))
top.add(gdstk.Reference(fillcell_x2, (9.31,6.44)))
top.add(gdstk.Reference(fillcell_x1, (9.69,6.44)))
top.add(gdstk.Reference(fillcell_x2, (8.17,9.24), x_reflection=True))
top.add(gdstk.Reference(fillcell_x1, (8.55,9.24), x_reflection=True))
top.add(gdstk.Reference(fillcell_x4, (11.21,9.24), x_reflection=True))
top.add(gdstk.Reference(fillcell_x2, (9.31,9.24)))
top.add(gdstk.Reference(fillcell_x1, (9.69,9.24)))
top.add(gdstk.Reference(fillcell_x8, (10.07,9.24)))
top.add(gdstk.Reference(fillcell_x2, (11.59,9.24)))
top.add(gdstk.Reference(via1_7, (9.215,8.33)))
top.add(gdstk.Reference(via1_4, (7.505,9.73)))
top.add(gdstk.Reference(via1_7, (10.925,7.35)))
top.add(gdstk.Reference(via2_5, (10.925,7.35)))
top.add(gdstk.Reference(via1_4, (5.985,5.95)))
top.add(gdstk.Reference(via3_2, (8.955,15.89)))
top.add(gdstk.Reference(via1_7, (9.025,8.47)))
top.add(gdstk.Reference(via2_5, (9.025,15.89)))
top.add(gdstk.Reference(via1_4, (5.795,9.73)))
top.add(gdstk.Reference(via1_4, (5.795,6.93)))
top.add(gdstk.Reference(via2_5, (5.795,6.93)))
top.add(gdstk.Reference(via1_4, (5.795,5.67)))
top.add(gdstk.Reference(via1_7, (8.645,10.15)))
top.add(gdstk.Reference(via1_4, (5.605,10.01)))
top.add(gdstk.Reference(via2_5, (5.605,10.01)))
top.add(gdstk.Reference(via1_7, (11.115,7.07)))
top.add(gdstk.Reference(via2_5, (11.115,7.07)))
top.add(gdstk.Reference(via1_4, (7.695,5.95)))
top.add(gdstk.Reference(via1_7, (12.445,8.75)))
top.add(gdstk.Reference(via2_5, (12.445,9.03)))
top.add(gdstk.Reference(via1_7, (5.225,8.05)))
top.add(gdstk.Reference(via2_5, (5.225,8.05)))
top.add(gdstk.Reference(via1_7, (5.225,7.63)))
top.add(gdstk.Reference(via2_5, (5.225,7.63)))
top.add(gdstk.Reference(via1_7, (5.415,5.25)))
top.add(gdstk.Reference(via1_7, (9.975,8.61)))
top.add(gdstk.Reference(via1_7, (10.545,8.33)))
top.add(gdstk.Reference(via2_5, (5.795,8.33)))
top.add(gdstk.Reference(via1_4, (5.795,8.75)))
top.add(gdstk.Reference(via1_7, (11.875,7.63)))
top.add(gdstk.Reference(via2_5, (11.875,8.33)))
top.add(gdstk.Reference(via1_4, (5.605,7.21)))
top.add(gdstk.Reference(via2_5, (5.605,7.21)))
top.add(gdstk.Reference(via1_7, (9.405,7.21)))
top.add(gdstk.Reference(via2_5, (9.405,7.21)))
top.add(gdstk.Reference(via1_4, (7.505,6.93)))
top.add(gdstk.Reference(via1_7, (8.265,6.23)))
top.add(gdstk.Reference(via1_7, (8.075,10.01)))
top.add(gdstk.Reference(via1_7, (8.455,10.01)))
top.add(gdstk.Reference(via1_4, (5.225,9.59)))
top.add(gdstk.Reference(via1_4, (5.605,8.47)))
top.add(gdstk.Reference(via1_7, (8.835,7.35)))
top.add(gdstk.Reference(via1_7, (8.835,9.45)))
top.add(gdstk.Reference(via1_4, (7.505,8.75)))
top.add(gdstk.Reference(via1_7, (7.885,7.21)))
top.add(gdstk.Reference(via1_7, (8.455,7.21)))
top.add(gdstk.Reference(via1_7, (8.455,8.19)))
top.add(gdstk.Reference(via1_7, (9.785,7.49)))
top.add(gdstk.Reference(via1_7, (10.355,8.47)))
top.add(gdstk.Reference(top_via0, (3,3)))
top.add(gdstk.Reference(top_via0, (3,12.96)))
top.add(gdstk.Reference(top_via0, (13.91,3)))
top.add(gdstk.Reference(top_via0, (13.91,12.96)))
top.add(gdstk.Reference(top_via1, (13.91,9.24)))
top.add(gdstk.Reference(top_via1, (13.91,6.44)))
top.add(gdstk.Reference(top_via1, (3,9.24)))
top.add(gdstk.Reference(top_via1, (3,6.44)))
top.add(gdstk.Reference(top_via0, (1,1)))
top.add(gdstk.Reference(top_via0, (1,14.96)))
top.add(gdstk.Reference(top_via0, (15.91,1)))
top.add(gdstk.Reference(top_via0, (15.91,14.96)))
top.add(gdstk.Reference(top_via1, (1,5.04)))
top.add(gdstk.Reference(top_via1, (1,7.84)))
top.add(gdstk.Reference(top_via1, (1,10.64)))
top.add(gdstk.Reference(top_via1, (15.91,5.04)))
top.add(gdstk.Reference(top_via1, (15.91,7.84)))
top.add(gdstk.Reference(top_via1, (15.91,10.64)))
top.add(gdstk.Label('g393__2398', (10.07,9.24), layer=204, texttype=0))
top.add(gdstk.Label('g394__5107', (8.17,6.44), layer=204, texttype=0))
top.add(gdstk.Label('g395__6260', (8.17,9.24), layer=204, texttype=0))
top.add(gdstk.Label('g396__4319', (8.17,6.44), layer=204, texttype=0))
top.add(gdstk.Label('g397__8428', (8.17,9.24), layer=204, texttype=0))
top.add(gdstk.Label('g399__5526', (8.17,9.24), layer=204, texttype=0))
top.add(gdstk.Label('g398__6783', (8.36,6.44), layer=204, texttype=0))
top.add(gdstk.Label('g400__3680', (10.07,6.44), layer=204, texttype=0))
top.add(gdstk.Label('g401__1617', (8.74,9.24), layer=204, texttype=0))
top.add(gdstk.Label('WELLTAP_1', (4.94,6.44), layer=204, texttype=0))
top.add(gdstk.Label('WELLTAP_2', (9.88,6.44), layer=204, texttype=0))
top.add(gdstk.Label('WELLTAP_3', (4.94,6.44), layer=204, texttype=0))
top.add(gdstk.Label('WELLTAP_4', (9.88,6.44), layer=204, texttype=0))
top.add(gdstk.Label('WELLTAP_5', (4.94,9.24), layer=204, texttype=0))
top.add(gdstk.Label('WELLTAP_6', (9.88,9.24), layer=204, texttype=0))
top.add(gdstk.Label('WELLTAP_7', (4.94,9.24), layer=204, texttype=0))
top.add(gdstk.Label('WELLTAP_8', (9.88,9.24), layer=204, texttype=0))
top.add(gdstk.Label('FILLER__1_1', (5.13,6.44), layer=204, texttype=0))
top.add(gdstk.Label('FILLER__1_2', (8.36,6.44), layer=204, texttype=0))
top.add(gdstk.Label('FILLER__1_3', (10.07,6.44), layer=204, texttype=0))
top.add(gdstk.Label('FILLER__1_4', (11.59,6.44), layer=204, texttype=0))
top.add(gdstk.Label('FILLER__1_5', (9.31,6.44), layer=204, texttype=0))
top.add(gdstk.Label('FILLER__1_6', (9.69,6.44), layer=204, texttype=0))
top.add(gdstk.Label('FILLER__1_7', (8.17,9.24), layer=204, texttype=0))
top.add(gdstk.Label('FILLER__1_8', (8.55,9.24), layer=204, texttype=0))
top.add(gdstk.Label('FILLER__1_9', (11.21,9.24), layer=204, texttype=0))
top.add(gdstk.Label('FILLER__1_10', (9.31,9.24), layer=204, texttype=0))
top.add(gdstk.Label('FILLER__1_11', (9.69,9.24), layer=204, texttype=0))
top.add(gdstk.Label('FILLER__1_12', (10.07,9.24), layer=204, texttype=0))
top.add(gdstk.Label('FILLER__1_13', (11.59,9.24), layer=204, texttype=0))
top.add(gdstk.Label('in1[3]', (9.215,15.925), layer=34, texttype=0))
top.add(gdstk.Label('in1[2]', (7.505,15.925), layer=34, texttype=0))
top.add(gdstk.Label('in1[1]', (16.875,7.35), layer=55, texttype=0))
top.add(gdstk.Label('in1[0]', (6.935,0.035), layer=34, texttype=0))
top.add(gdstk.Label('in2[3]', (8.955,15.89), layer=76, texttype=0))
top.add(gdstk.Label('in2[2]', (6.745,15.925), layer=34, texttype=0))
top.add(gdstk.Label('in2[1]', (0.035,6.93), layer=55, texttype=0))
top.add(gdstk.Label('in2[0]', (5.795,0.035), layer=34, texttype=0))
top.add(gdstk.Label('in3[3]', (8.645,15.925), layer=34, texttype=0))
top.add(gdstk.Label('in3[2]', (0.035,10.01), layer=55, texttype=0))
top.add(gdstk.Label('in3[1]', (16.875,7.07), layer=55, texttype=0))
top.add(gdstk.Label('in3[0]', (7.695,0.035), layer=34, texttype=0))
top.add(gdstk.Label('out1[3]', (16.875,9.03), layer=55, texttype=0))
top.add(gdstk.Label('out1[2]', (0.035,8.05), layer=55, texttype=0))
top.add(gdstk.Label('out1[1]', (0.035,7.63), layer=55, texttype=0))
top.add(gdstk.Label('out1[0]', (5.415,0.035), layer=34, texttype=0))
top.add(gdstk.Label('in1[3]', (9.215,15.61), layer=32, texttype=0))
top.add(gdstk.Label('in1[2]', (7.505,9.73), layer=32, texttype=0))
top.add(gdstk.Label('in1[1]', (10.925,7.35), layer=32, texttype=0))
top.add(gdstk.Label('in1[0]', (5.985,5.81), layer=32, texttype=0))
top.add(gdstk.Label('in2[3]', (8.955,15.89), layer=53, texttype=0))
top.add(gdstk.Label('in2[2]', (5.795,9.73), layer=32, texttype=0))
top.add(gdstk.Label('in2[1]', (0.035,6.93), layer=53, texttype=0))
top.add(gdstk.Label('in2[0]', (5.795,0.035), layer=32, texttype=0))
top.add(gdstk.Label('in3[3]', (8.455,10.57), layer=32, texttype=0))
top.add(gdstk.Label('in3[2]', (0.035,10.01), layer=53, texttype=0))
top.add(gdstk.Label('in3[1]', (11.495,6.93), layer=53, texttype=0))
top.add(gdstk.Label('in3[0]', (7.695,0.035), layer=32, texttype=0))
top.add(gdstk.Label('out1[3]', (12.445,9.03), layer=53, texttype=0))
top.add(gdstk.Label('out1[2]', (0.035,8.05), layer=53, texttype=0))
top.add(gdstk.Label('out1[1]', (0.035,7.63), layer=53, texttype=0))
top.add(gdstk.Label('out1[0]', (5.225,0.35), layer=32, texttype=0))
top.add(gdstk.Label('n_0', (9.975,8.61), layer=32, texttype=0))
top.add(gdstk.Label('n_1', (11.875,7.63), layer=32, texttype=0))
top.add(gdstk.Label('n_2', (5.605,7.21), layer=32, texttype=0))
top.add(gdstk.Label('n_3', (8.265,6.23), layer=32, texttype=0))
top.add(gdstk.Label('n_5', (8.075,10.01), layer=32, texttype=0))
top.add(gdstk.Label('n_6', (5.225,9.45), layer=32, texttype=0))
top.add(gdstk.Label('n_7', (8.835,7.35), layer=32, texttype=0))
top.add(gdstk.Label('n_8', (7.885,7.21), layer=32, texttype=0))
top.add(gdstk.Label('n_10', (8.075,8.19), layer=11, texttype=0))
top.add(gdstk.Label('n_12', (9.785,7.49), layer=32, texttype=0))
top.add(gdstk.Label('VSS', (2.5,2.5), layer=33, texttype=0))
top.add(gdstk.Label('VDD', (0.5,0.5), layer=33, texttype=0))

lib.write_gds('top.gds')
